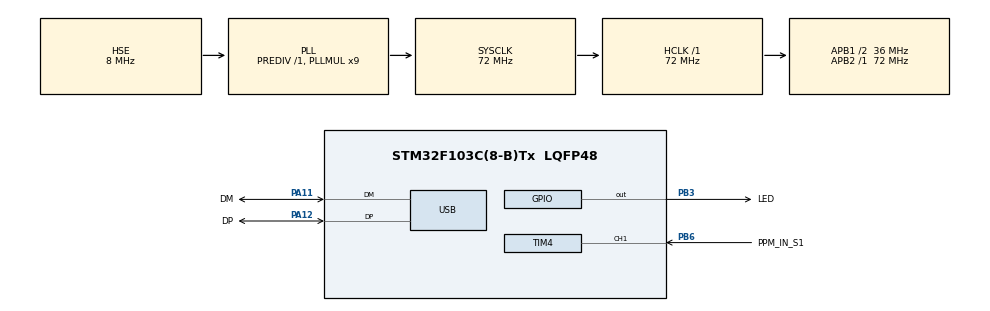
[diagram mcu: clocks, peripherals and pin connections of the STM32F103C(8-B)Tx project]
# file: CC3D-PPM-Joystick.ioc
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Mcu.Family=STM32F1
Mcu.Name=STM32F103C(8-B)Tx
Mcu.Package=LQFP48
NVIC.PriorityGroup=NVIC_PRIORITYGROUP_0
NVIC.TIM4_IRQn=true\:0\:0\:false\:false\:true\:true
NVIC.USB_LP_CAN1_RX0_IRQn=true\:0\:0\:false\:false\:true\:false
PA11.GPIO_Label=DM
PA11.Mode=Device
PA11.Signal=USB_DM
PA12.GPIO_Label=DP
PA12.Mode=Device
PA12.Signal=USB_DP
PB3.GPIO_Label=LED
PB3.PinState=GPIO_PIN_SET
PB3.Signal=GPIO_Output
PB6.GPIO_Label=PPM_IN_S1
PB6.Signal=S_TIM4_CH1
PD0-OSC_IN.GPIO_Label=OSC_IN
PD0-OSC_IN.Mode=HSE-External-Oscillator
PD0-OSC_IN.Signal=RCC_OSC_IN
PD1-OSC_OUT.GPIO_Label=OSC_OUT
PD1-OSC_OUT.Mode=HSE-External-Oscillator
PD1-OSC_OUT.Signal=RCC_OSC_OUT
ProjectManager.HeapSize=0x200
ProjectManager.StackSize=0x400
ProjectManager.TargetToolchain=Makefile
RCC.AHBFreq_Value=72000000
RCC.APB1CLKDivider=RCC_HCLK_DIV2
RCC.APB1Freq_Value=36000000
RCC.APB1TimFreq_Value=72000000
RCC.APB2Freq_Value=72000000
RCC.APB2TimFreq_Value=72000000
RCC.CortexFreq_Value=72000000
RCC.HCLKFreq_Value=72000000
RCC.HSE_VALUE=8000000
RCC.HSI_VALUE=8000000
RCC.LSE_VALUE=32768
RCC.PLLMUL=RCC_PLL_MUL9
RCC.PRESCALERUSB=RCC_USBCLKSOURCE_PLL_DIV1_5
RCC.SYSCLKFreq_VALUE=72000000
RCC.SYSCLKSource=RCC_SYSCLKSOURCE_PLLCLK
RCC.SYSCLKSourceVirtual=RCC_SYSCLKSOURCE_PLLCLK
RCC.USBFreq_Value=48000000
RCC.USBPrescaler=RCC_USBCLKSOURCE_PLL_DIV1_5
SH.S_TIM4_CH1.0=TIM4_CH1,Input_Capture1_from_TI1
SH.S_TIM4_CH1.1=TIM4_CH1,TriggerSource_TI1FP1
TIM4.Channel-Input_Capture1_from_TI1=TIM_CHANNEL_1
TIM4.ICPolarity_CH1=TIM_INPUTCHANNELPOLARITY_FALLING
TIM4.Period=0xffff
TIM4.Prescaler=71
USB.ep0_mps=DEP0CTL_MPS_64
USB_DEVICE.CLASS_NAME_FS=HID
USB_DEVICE.MANUFACTURER_STRING=madmaxoft
USB_DEVICE.PID_HID_FS=0xeebb
USB_DEVICE.PRODUCT_STRING_HID_FS=CC3D PPM Joystick
USB_DEVICE.USBD_HandleTypeDef=hUsbDeviceFS
USB_DEVICE.VID=0xffaa
USB_DEVICE.VirtualMode=Hid
USB_DEVICE.VirtualModeFS=Hid_FS
VP_SYS_VS_ND.Mode=No_Debug
VP_TIM4_VS_ClockSourceINT.Mode=Internal
VP_TIM4_VS_ControllerModeReset.Mode=Reset Mode
VP_USB_DEVICE_VS_USB_DEVICE_HID_FS.Mode=HID_FS
board=CC3D-PPM-Joystick

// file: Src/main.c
/**
  ******************************************************************************
  * File Name          : main.c
  * Description        : Main program body
  ******************************************************************************
  * This notice applies to any and all portions of this file
  * that are not between comment pairs USER CODE BEGIN and
  * USER CODE END. Other portions of this file, whether
  * inserted by the user or by software development tools
  * are owned by their respective copyright owners.
  *
  * Copyright (c) 2017 STMicroelectronics International N.V.
  * All rights reserved.
  *
  * Redistribution and use in source and binary forms, with or without
  * modification, are permitted, provided that the following conditions are met:
  *
  * 1. Redistribution of source code must retain the above copyright notice,
  *    this list of conditions and the following disclaimer.
  * 2. Redistributions in binary form must reproduce the above copyright notice,
  *    this list of conditions and the following disclaimer in the documentation
  *    and/or other materials provided with the distribution.
  * 3. Neither the name of STMicroelectronics nor the names of other
  *    contributors to this software may be used to endorse or promote products
  *    derived from this software without specific written permission.
  * 4. This software, including modifications and/or derivative works of this
  *    software, must execute solely and exclusively on microcontroller or
  *    microprocessor devices manufactured by or for STMicroelectronics.
  * 5. Redistribution and use of this software other than as permitted under
  *    this license is void and will automatically terminate your rights under
  *    this license.
  *
  * THIS SOFTWARE IS PROVIDED BY STMICROELECTRONICS AND CONTRIBUTORS "AS IS"
  * AND ANY EXPRESS, IMPLIED OR STATUTORY WARRANTIES, INCLUDING, BUT NOT
  * LIMITED TO, THE IMPLIED WARRANTIES OF MERCHANTABILITY, FITNESS FOR A
  * PARTICULAR PURPOSE AND NON-INFRINGEMENT OF THIRD PARTY INTELLECTUAL PROPERTY
  * RIGHTS ARE DISCLAIMED TO THE FULLEST EXTENT PERMITTED BY LAW. IN NO EVENT
  * SHALL STMICROELECTRONICS OR CONTRIBUTORS BE LIABLE FOR ANY DIRECT, INDIRECT,
  * INCIDENTAL, SPECIAL, EXEMPLARY, OR CONSEQUENTIAL DAMAGES (INCLUDING, BUT NOT
  * LIMITED TO, PROCUREMENT OF SUBSTITUTE GOODS OR SERVICES; LOSS OF USE, DATA,
  * OR PROFITS; OR BUSINESS INTERRUPTION) HOWEVER CAUSED AND ON ANY THEORY OF
  * LIABILITY, WHETHER IN CONTRACT, STRICT LIABILITY, OR TORT (INCLUDING
  * NEGLIGENCE OR OTHERWISE) ARISING IN ANY WAY OUT OF THE USE OF THIS SOFTWARE,
  * EVEN IF ADVISED OF THE POSSIBILITY OF SUCH DAMAGE.
  *
  ******************************************************************************
  */
#include "main.h"
#include "stm32f1xx_hal.h"
#include "usb_device.h"

/* USER CODE BEGIN Includes */

#include "../Middlewares/ST/STM32_USB_Device_Library/Class/HID/Inc/usbd_hid.h"

/* USER CODE END Includes */

TIM_HandleTypeDef htim4;

/* USER CODE BEGIN PV */

/* Private variables ---------------------------------------------------------*/
/** The raw PPM data received*/
uint16_t ppmChannelValue[8] = {0};

/** The USB HID report, based on the ppmChannelValue.
Only filled in once all PPM channels are received.
Uses usbReportReady to indicate that valid data is present. */
uint16_t usbReport[5] = {0};

/** The PPM channel being currently received. */
uint8_t curChannel = 0;

/** If nonzero, indicates that the usbReport contains valid data. */
uint8_t usbReportReady = 0;

/* USER CODE END PV */

void SystemClock_Config(void);
static void MX_GPIO_Init(void);
static void MX_TIM4_Init(void);

/* USER CODE BEGIN PFP */
/* Private function prototypes -----------------------------------------------*/

/* USER CODE END PFP */

/* USER CODE BEGIN 0 */

void CopyDataToOutput()
{
	uint8_t i;
	for (i = 0; i < 4; i++)
	{
		if (ppmChannelValue[i] < 1000)
		{
			ppmChannelValue[i] = 1000;
		}
		else if (ppmChannelValue[i] > 2000)
		{
			ppmChannelValue[i] = 2000;
		}
		usbReport[i] = ppmChannelValue[i] - 1000;
	};
	usbReport[4] = 0;
	if (ppmChannelValue[4] > 1500)
	{
		usbReport[4] |= (1 << 4);
	}
	if (ppmChannelValue[5] > 1500)
	{
		usbReport[4] |= (1 << 5);
	}
	if (ppmChannelValue[6] > 1500)
	{
		usbReport[4] |= (1 << 6);
	}
	if (ppmChannelValue[7] > 1500)
	{
		usbReport[4] |= (1 << 7);
	}
	usbReportReady = 1;
}

void HAL_TIM_IC_CaptureCallback(TIM_HandleTypeDef * htim)
{
	uint16_t val;
	val = HAL_TIM_ReadCapturedValue(htim, TIM_CHANNEL_1);
	if ((val > 5000) && (!usbReportReady))
	{
		CopyDataToOutput();
		curChannel = 0;
	}
	else
	{
		ppmChannelValue[curChannel] = val;
		curChannel++;
		if (curChannel == 8)
		{
			curChannel = 0;
		}
	}
}

/* USER CODE END 0 */

int main(void)
{

  /* MCU Configuration----------------------------------------------------------*/

  /* Reset of all peripherals, Initializes the Flash interface and the Systick. */
  HAL_Init();

  /* Configure the system clock */
  SystemClock_Config();

  /* Initialize all configured peripherals */
  MX_GPIO_Init();
  MX_USB_DEVICE_Init();
  MX_TIM4_Init();

  /* USER CODE BEGIN 2 */
	/* Wait a bit for the USB to get enumerated */
	HAL_Delay(500);

	/* Start capturing PPM data */
	HAL_TIM_IC_Start_IT(&htim4, TIM_CHANNEL_1);

	/* Turn on the Status LED */
	HAL_GPIO_WritePin(LED_GPIO_Port, LED_Pin, GPIO_PIN_RESET);
  /* USER CODE END 2 */

  /* Infinite loop */
  while (1)
  {

  /* USER CODE BEGIN 3 */

	if (usbReportReady)
	{
		USBD_HID_SendReport(&hUsbDeviceFS, (uint8_t *)usbReport, 10);
		usbReportReady = 0;
	}

  }
  /* USER CODE END 3 */

}

/** System Clock Configuration
*/
void SystemClock_Config(void)
{

  RCC_OscInitTypeDef RCC_OscInitStruct;
  RCC_ClkInitTypeDef RCC_ClkInitStruct;
  RCC_PeriphCLKInitTypeDef PeriphClkInit;

    /**Initializes the CPU, AHB and APB busses clocks
    */
  RCC_OscInitStruct.OscillatorType = RCC_OSCILLATORTYPE_HSE;
  RCC_OscInitStruct.HSEState = RCC_HSE_ON;
  RCC_OscInitStruct.HSEPredivValue = RCC_HSE_PREDIV_DIV1;
  RCC_OscInitStruct.HSIState = RCC_HSI_ON;
  RCC_OscInitStruct.PLL.PLLState = RCC_PLL_ON;
  RCC_OscInitStruct.PLL.PLLSource = RCC_PLLSOURCE_HSE;
  RCC_OscInitStruct.PLL.PLLMUL = RCC_PLL_MUL9;
  if (HAL_RCC_OscConfig(&RCC_OscInitStruct) != HAL_OK)
  {
    _Error_Handler(__FILE__, __LINE__);
  }

    /**Initializes the CPU, AHB and APB busses clocks
    */
  RCC_ClkInitStruct.ClockType = RCC_CLOCKTYPE_HCLK|RCC_CLOCKTYPE_SYSCLK
                              |RCC_CLOCKTYPE_PCLK1|RCC_CLOCKTYPE_PCLK2;
  RCC_ClkInitStruct.SYSCLKSource = RCC_SYSCLKSOURCE_PLLCLK;
  RCC_ClkInitStruct.AHBCLKDivider = RCC_SYSCLK_DIV1;
  RCC_ClkInitStruct.APB1CLKDivider = RCC_HCLK_DIV2;
  RCC_ClkInitStruct.APB2CLKDivider = RCC_HCLK_DIV1;

  if (HAL_RCC_ClockConfig(&RCC_ClkInitStruct, FLASH_LATENCY_2) != HAL_OK)
  {
    _Error_Handler(__FILE__, __LINE__);
  }

  PeriphClkInit.PeriphClockSelection = RCC_PERIPHCLK_USB;
  PeriphClkInit.UsbClockSelection = RCC_USBCLKSOURCE_PLL_DIV1_5;
  if (HAL_RCCEx_PeriphCLKConfig(&PeriphClkInit) != HAL_OK)
  {
    _Error_Handler(__FILE__, __LINE__);
  }

    /**Configure the Systick interrupt time
    */
  HAL_SYSTICK_Config(HAL_RCC_GetHCLKFreq()/1000);

    /**Configure the Systick
    */
  HAL_SYSTICK_CLKSourceConfig(SYSTICK_CLKSOURCE_HCLK);

  /* SysTick_IRQn interrupt configuration */
  HAL_NVIC_SetPriority(SysTick_IRQn, 0, 0);
}

/* TIM4 init function */
static void MX_TIM4_Init(void)
{

  TIM_ClockConfigTypeDef sClockSourceConfig;
  TIM_SlaveConfigTypeDef sSlaveConfig;
  TIM_MasterConfigTypeDef sMasterConfig;
  TIM_IC_InitTypeDef sConfigIC;

  htim4.Instance = TIM4;
  htim4.Init.Prescaler = 71;
  htim4.Init.CounterMode = TIM_COUNTERMODE_UP;
  htim4.Init.Period = 0xffff;
  htim4.Init.ClockDivision = TIM_CLOCKDIVISION_DIV1;
  htim4.Init.AutoReloadPreload = TIM_AUTORELOAD_PRELOAD_DISABLE;
  if (HAL_TIM_Base_Init(&htim4) != HAL_OK)
  {
    _Error_Handler(__FILE__, __LINE__);
  }

  sClockSourceConfig.ClockSource = TIM_CLOCKSOURCE_INTERNAL;
  if (HAL_TIM_ConfigClockSource(&htim4, &sClockSourceConfig) != HAL_OK)
  {
    _Error_Handler(__FILE__, __LINE__);
  }

  if (HAL_TIM_IC_Init(&htim4) != HAL_OK)
  {
    _Error_Handler(__FILE__, __LINE__);
  }

  sSlaveConfig.SlaveMode = TIM_SLAVEMODE_RESET;
  sSlaveConfig.InputTrigger = TIM_TS_TI1FP1;
  sSlaveConfig.TriggerPolarity = TIM_INPUTCHANNELPOLARITY_FALLING;
  sSlaveConfig.TriggerFilter = 0;
  if (HAL_TIM_SlaveConfigSynchronization(&htim4, &sSlaveConfig) != HAL_OK)
  {
    _Error_Handler(__FILE__, __LINE__);
  }

  sMasterConfig.MasterOutputTrigger = TIM_TRGO_RESET;
  sMasterConfig.MasterSlaveMode = TIM_MASTERSLAVEMODE_DISABLE;
  if (HAL_TIMEx_MasterConfigSynchronization(&htim4, &sMasterConfig) != HAL_OK)
  {
    _Error_Handler(__FILE__, __LINE__);
  }

  sConfigIC.ICPolarity = TIM_INPUTCHANNELPOLARITY_FALLING;
  sConfigIC.ICSelection = TIM_ICSELECTION_DIRECTTI;
  sConfigIC.ICPrescaler = TIM_ICPSC_DIV1;
  sConfigIC.ICFilter = 0;
  if (HAL_TIM_IC_ConfigChannel(&htim4, &sConfigIC, TIM_CHANNEL_1) != HAL_OK)
  {
    _Error_Handler(__FILE__, __LINE__);
  }

}

/** Configure pins as
        * Analog
        * Input
        * Output
        * EVENT_OUT
        * EXTI
*/
static void MX_GPIO_Init(void)
{

  GPIO_InitTypeDef GPIO_InitStruct;

  /* GPIO Ports Clock Enable */
  __HAL_RCC_GPIOD_CLK_ENABLE();
  __HAL_RCC_GPIOA_CLK_ENABLE();
  __HAL_RCC_GPIOB_CLK_ENABLE();

  /*Configure GPIO pin Output Level */
  HAL_GPIO_WritePin(LED_GPIO_Port, LED_Pin, GPIO_PIN_SET);

  /*Configure GPIO pin : LED_Pin */
  GPIO_InitStruct.Pin = LED_Pin;
  GPIO_InitStruct.Mode = GPIO_MODE_OUTPUT_PP;
  GPIO_InitStruct.Speed = GPIO_SPEED_FREQ_LOW;
  HAL_GPIO_Init(LED_GPIO_Port, &GPIO_InitStruct);

}

void _Error_Handler(char * file, int line)
{
  /* USER CODE BEGIN Error_Handler_Debug */
  /* User can add his own implementation to report the HAL error return state */

  /* Begin fast-blinking the status LED to indicate a problem. */
  while(1)
  {
	HAL_GPIO_TogglePin(LED_GPIO_Port, LED_Pin);
	HAL_Delay(100);
  }

  /* USER CODE END Error_Handler_Debug */
}

/************************ (C) COPYRIGHT STMicroelectronics *****END OF FILE****/
